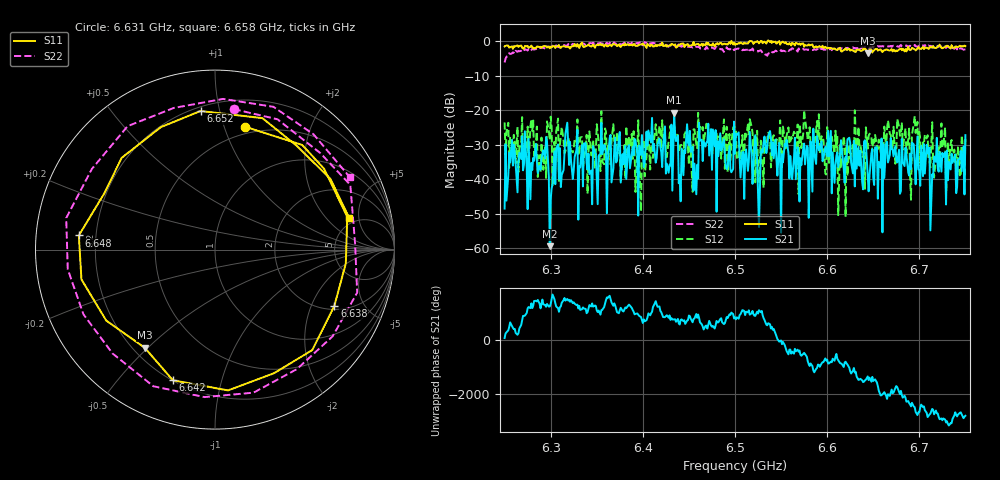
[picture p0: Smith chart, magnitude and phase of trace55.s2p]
# Hz S RI R 50
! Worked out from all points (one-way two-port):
!   401 points, 6.25 GHz to 6.75 GHz, reference 50 ohm
!   highest |S21| = -20.68 dB at 6.434 GHz (marker M1); lowest = -59.3 dB at 6.299 GHz (marker M2)
!   lowest |S11| = -3.4 dB at 6.644 GHz (marker M3), VSWR 5.11, Z = 12.2 - j24.5 ohm
!   |S11| at or under -10 dB: nowhere
!   |S22| runs from -6.1 to 0.0 dB; largest |S21 - S12| = 0.13
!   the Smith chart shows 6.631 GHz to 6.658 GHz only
!   S11 on the Smith chart (normalised r, x): 6.631 GHz: 0.43, +1.17; 6.638 GHz: 2.18, -2.98; 6.642 GHz: 0.20, -0.71; 6.648 GHz: 0.13, +0.05; 6.652 GHz: 0.23, +0.88; 6.658 GHz: 4.33, +3.72
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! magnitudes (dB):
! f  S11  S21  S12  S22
! 6.25 GHz  -1.4  -48.4  -23.5  -6.1
! 6.258 GHz  -1.4  -28.6  -28.6  -3.5
! 6.294 GHz  -1.3  -34.0  -30.6  -2.1
! 6.299 GHz  -2.0  -59.3  -28.6  -1.6
! 6.319 GHz  -1.5  -29.5  -27.8  -0.7
! 6.334 GHz  -0.3  -30.1  -27.7  -0.9
! 6.418 GHz  -1.2  -28.2  -24.5  -1.1
! 6.434 GHz  -1.1  -20.7  -24.0  -1.0
! 6.458 GHz  -0.8  -44.3  -29.8  -1.5
! 6.464 GHz  -0.7  -28.5  -25.7  -2.0
! 6.5 GHz  -1.0  -32.5  -24.9  -2.3
! 6.584 GHz  -0.8  -43.5  -30.3  -2.5
! 6.631 GHz  -3.0  -30.0  -27.4  -2.1
! 6.638 GHz  -2.7  -40.8  -33.3  -1.6
! 6.642 GHz  -2.3  -29.3  -24.9  -1.7
! 6.644 GHz  -3.4  -39.0  -31.1  -1.6
! 6.648 GHz  -2.4  -32.4  -27.7  -1.6
! 6.652 GHz  -2.2  -30.7  -27.1  -1.7
! 6.658 GHz  -2.3  -36.6  -32.0  -1.4
! 6.668 GHz  -2.7  -32.9  -26.8  -1.4
! 6.715 GHz  -1.4  -39.4  -35.2  -1.8
! 6.75 GHz  -1.3  -27.2  -28.2  -2.3
